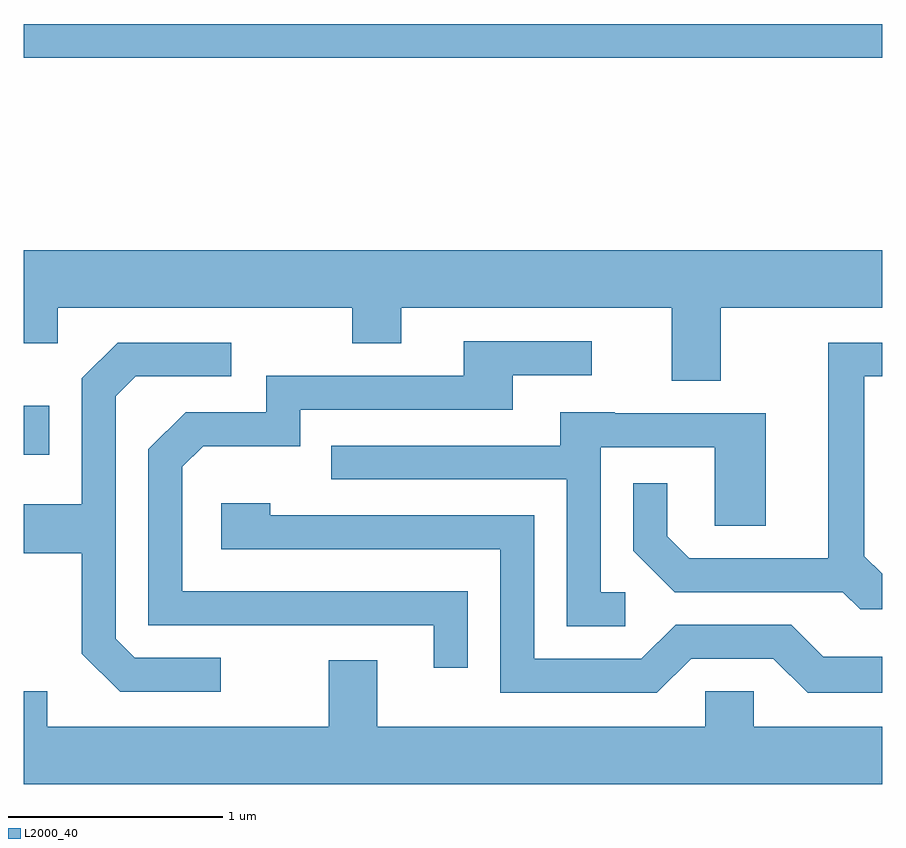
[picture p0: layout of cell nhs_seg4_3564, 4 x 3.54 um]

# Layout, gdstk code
import gdstk
lib = gdstk.Library(unit=1e-6, precision=1e-09)
def R(c, l, rs):  # rectangles x0, y0, x1, y1
    for r in rs: c.add(gdstk.rectangle(r[:2], r[2:], *l))
def P(c, l, *ps):  # polygons
    for p in ps: c.add(gdstk.Polygon(p, *l))
L2000_40 = (2000, 40)

nhs_seg4_3564 = lib.new_cell('nhs_seg4_3564')
R(nhs_seg4_3564, L2000_40, [(289.611,1311.811,289.729,1312.039), (289.611,1313.661,293.611,1313.819)])
P(nhs_seg4_3564, L2000_40, [(292.859,1312.496),(293.611,1312.496),(293.611,1312.764),(289.611,1312.764),(289.611,1312.331),(289.769,1312.331),(289.769,1312.496),(291.141,1312.496),(291.141,1312.331),(291.369,1312.331),(291.369,1312.496),(292.631,1312.496),(292.631,1312.156),(292.859,1312.156)],
  [(291.679,1311.174),(290.349,1311.174),(290.349,1311.754),(290.447,1311.851),(290.899,1311.851),(290.899,1312.021),(291.889,1312.021),(291.889,1312.181),(292.258,1312.181),(292.258,1312.339),(291.661,1312.339),(291.661,1312.179),(290.741,1312.179),(290.741,1312.009),(290.364,1312.009),(290.191,1311.837),(290.191,1311.016),(291.521,1311.016),(291.521,1310.818),(291.679,1310.818)],
  [(293.611,1311.255),(293.529,1311.337),(293.529,1312.176),(293.611,1312.176),(293.611,1312.334),(293.361,1312.334),(293.361,1311.329),(292.712,1311.329),(292.609,1311.432),(292.609,1311.678),(292.451,1311.678),(292.451,1311.364),(292.644,1311.171),(293.429,1311.171),(293.509,1311.091),(293.611,1311.091)],
  [(290.528,1310.864),(290.127,1310.864),(290.039,1310.952),(290.039,1312.084),(290.132,1312.176),(290.578,1312.176),(290.578,1312.334),(290.049,1312.334),(289.881,1312.167),(289.881,1311.579),(289.611,1311.579),(289.611,1311.351),(289.881,1311.351),(289.881,1310.884),(290.059,1310.706),(290.528,1310.706)],
  [(292.413,1311.169),(292.299,1311.169),(292.299,1311.846),(292.831,1311.846),(292.831,1311.481),(293.069,1311.481),(293.069,1312.004),(292.365,1312.004),(292.365,1312.009),(292.111,1312.009),(292.111,1311.854),(291.043,1311.854),(291.043,1311.696),(292.141,1311.696),(292.141,1311.011),(292.413,1311.011)],
  [(292.722,1310.861),(293.104,1310.861),(293.264,1310.701),(293.611,1310.701),(293.611,1310.869),(293.337,1310.869),(293.187,1311.019),(292.649,1311.019),(292.489,1310.859),(291.989,1310.859),(291.989,1311.529),(290.759,1311.529),(290.759,1311.584),(290.531,1311.584),(290.531,1311.371),(291.831,1311.371),(291.831,1310.701),(292.562,1310.701)],
  [(293.611,1310.544),(293.014,1310.544),(293.014,1310.709),(292.786,1310.709),(292.786,1310.544),(291.259,1310.544),(291.259,1310.854),(291.031,1310.854),(291.031,1310.544),(289.719,1310.544),(289.719,1310.709),(289.611,1310.709),(289.611,1310.276),(293.611,1310.276)])

lib.write_gds('nhs_seg4_3564.gds')
